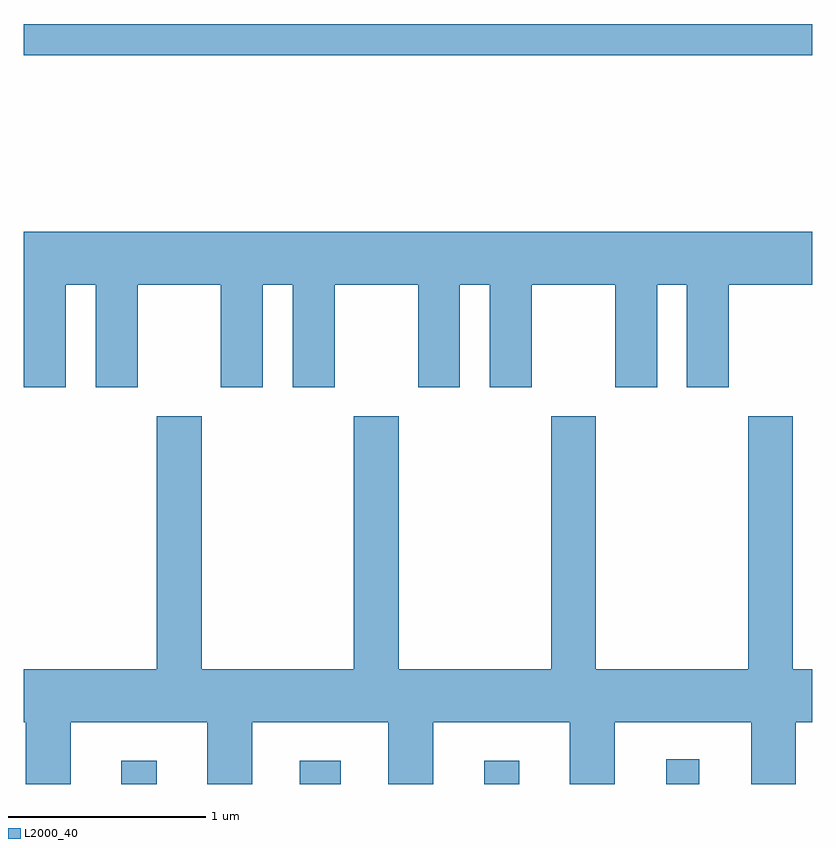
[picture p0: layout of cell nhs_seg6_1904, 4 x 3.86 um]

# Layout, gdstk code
import gdstk
lib = gdstk.Library(unit=1e-6, precision=1e-09)
def R(c, l, rs):  # rectangles x0, y0, x1, y1
    for r in rs: c.add(gdstk.rectangle(r[:2], r[2:], *l))
def P(c, l, *ps):  # polygons
    for p in ps: c.add(gdstk.Polygon(p, *l))
L2000_40 = (2000, 40)

nhs_seg6_1904 = lib.new_cell('nhs_seg6_1904')
R(nhs_seg6_1904, L2000_40, [(244.106,1554.162,244.284,1554.279), (245.011,1554.162,245.219,1554.279), (245.946,1554.162,246.124,1554.279), (246.871,1554.162,247.039,1554.288), (243.611,1557.861,247.611,1558.019)])
P(nhs_seg6_1904, L2000_40, [(243.824,1556.696),(243.976,1556.696),(243.976,1556.176),(244.189,1556.176),(244.189,1556.696),(244.611,1556.696),(244.611,1556.176),(244.824,1556.176),(244.824,1556.696),(244.976,1556.696),(244.976,1556.176),(245.189,1556.176),(245.189,1556.696),(245.611,1556.696),(245.611,1556.176),(245.824,1556.176),(245.824,1556.696),(245.976,1556.696),(245.976,1556.176),(246.189,1556.176),(246.189,1556.696),(246.611,1556.696),(246.611,1556.176),(246.824,1556.176),(246.824,1556.696),(246.976,1556.696),(246.976,1556.176),(247.189,1556.176),(247.189,1556.696),(247.611,1556.696),(247.611,1556.964),(243.611,1556.964),(243.611,1556.176),(243.824,1556.176)],
  [(243.849,1554.476),(244.541,1554.476),(244.541,1554.162),(244.769,1554.162),(244.769,1554.476),(245.461,1554.476),(245.461,1554.162),(245.689,1554.162),(245.689,1554.476),(246.381,1554.476),(246.381,1554.162),(246.609,1554.162),(246.609,1554.476),(247.301,1554.476),(247.301,1554.162),(247.529,1554.162),(247.529,1554.476),(247.611,1554.476),(247.611,1554.744),(247.514,1554.744),(247.514,1556.029),(247.286,1556.029),(247.286,1554.744),(246.514,1554.744),(246.514,1556.029),(246.286,1556.029),(246.286,1554.744),(245.514,1554.744),(245.514,1556.029),(245.286,1556.029),(245.286,1554.744),(244.514,1554.744),(244.514,1556.029),(244.286,1556.029),(244.286,1554.744),(243.611,1554.744),(243.611,1554.476),(243.621,1554.476),(243.621,1554.162),(243.849,1554.162)])

lib.write_gds('nhs_seg6_1904.gds')
